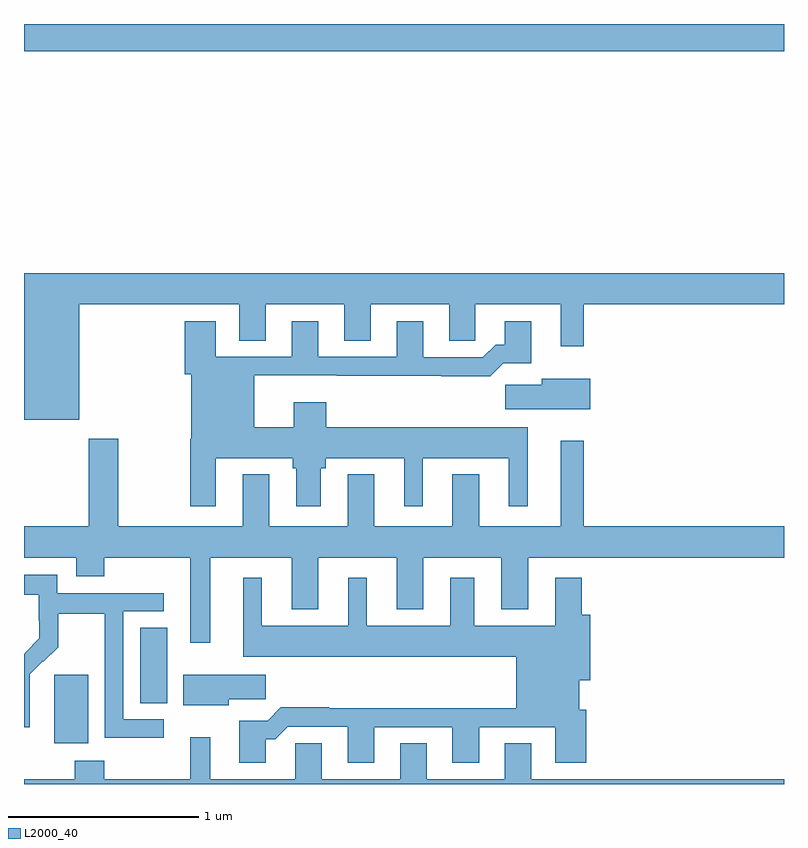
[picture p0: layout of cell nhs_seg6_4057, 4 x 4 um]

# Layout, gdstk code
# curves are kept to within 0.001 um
import gdstk
lib = gdstk.Library(unit=1e-6, precision=1e-09)
def R(c, l, rs):  # rectangles x0, y0, x1, y1
    for r in rs: c.add(gdstk.rectangle(r[:2], r[2:], *l))
def P(c, l, *ps):  # polygons
    for p in ps: c.add(gdstk.Polygon(p, *l))
L2000_40 = (2000, 40)

nhs_seg6_4057 = lib.new_cell('nhs_seg6_4057')
R(nhs_seg6_4057, L2000_40, [(351.158,923.714,351.337,924.075), (351.611,923.926,351.754,924.323), (351,927.356,355,927.5)])
P(nhs_seg6_4057, L2000_40, [(351.292,926.024),(352.133,926.024),(352.133,925.834),(352.273,925.834),(352.273,926.024),(352.685,926.024),(352.685,925.834),(352.825,925.834),(352.825,926.024),(353.237,926.024),(353.237,925.834),(353.376,925.834),(353.376,926.024),(353.825,926.024),(353.825,925.803),(353.947,925.803),(353.947,926.024),(355,926.024),(355,926.188),(351,926.188),(351,925.418),(351.292,925.418)],
  [(352.009,925.214),(352.414,925.214),(352.414,925.161),(352.433,925.161),(352.433,924.963),(352.561,924.963),(352.561,925.161),(352.587,925.161),(352.587,925.214),(353,925.214),(353,924.963),(353.098,924.963),(353.098,925.214),(353.552,925.214),(353.552,924.963),(353.65,924.963),(353.65,925.378),(352.592,925.378),(352.592,925.51),(352.421,925.51),(352.421,925.378),(352.213,925.378),(352.213,925.652),(352.645,925.652),(352.645,925.648),(353.197,925.648),(353.197,925.646),(353.453,925.646),(353.522,925.715),(353.671,925.715),(353.671,925.936),(353.531,925.936),(353.531,925.813),(353.482,925.813),(353.415,925.746),(353.101,925.746),(353.101,925.936),(352.961,925.936),(352.961,925.749),(352.549,925.749),(352.549,925.936),(352.409,925.936),(352.409,925.749),(352.009,925.749),(352.009,925.936),(351.845,925.936),(351.845,925.656),(351.881,925.656),(351.881,925.318),(351.874,925.318),(351.874,924.963),(352.009,924.963)],
  [(353.98,925.633),(353.726,925.633),(353.726,925.601),(353.532,925.601),(353.532,925.472),(353.98,925.472)],
  [(351.979,924.692),(352.409,924.692),(352.409,924.419),(352.549,924.419),(352.549,924.692),(352.961,924.692),(352.961,924.419),(353.101,924.419),(353.101,924.692),(353.513,924.692),(353.513,924.419),(353.653,924.419),(353.653,924.692),(355,924.692),(355,924.856),(353.947,924.856),(353.947,925.306),(353.825,925.306),(353.825,924.856),(353.395,924.856),(353.395,925.129),(353.255,925.129),(353.255,924.856),(352.843,924.856),(352.843,925.129),(352.703,925.129),(352.703,924.856),(352.291,924.856),(352.291,925.129),(352.151,925.129),(352.151,924.856),(351.495,924.856),(351.495,925.318),(351.34,925.318),(351.34,924.856),(351,924.856),(351,924.692),(351.275,924.692),(351.275,924.593),(351.423,924.593),(351.423,924.692),(351.875,924.692),(351.875,924.243),(351.979,924.243)],
  [(351.736,923.841),(351.522,923.841),(351.522,924.408),(351.736,924.408),(351.736,924.504),(351.174,924.504),(351.174,924.601),(351,924.601),(351,924.497),(351.078,924.497),(351.078,924.363),(351.08,924.363),(351.08,924.266),(351.006,924.192),(351.007,924.191),(351,924.184),(351,923.8),(351.03,923.8),(351.029,924.077),(351.099,924.147),(351.102,924.144),(351.179,924.221),(351.179,924.396),(351.424,924.396),(351.424,924.172),(351.426,924.172),(351.426,923.743),(351.736,923.743)],
  [(352.273,923.735),(352.322,923.735),(352.389,923.802),(352.703,923.802),(352.703,923.613),(352.843,923.613),(352.843,923.799),(353.255,923.799),(353.255,923.613),(353.395,923.613),(353.395,923.799),(353.795,923.799),(353.795,923.613),(353.96,923.613),(353.96,923.892),(353.923,923.892),(353.923,924.047),(353.98,924.047),(353.98,924.391),(353.936,924.391),(353.936,924.586),(353.795,924.586),(353.795,924.334),(353.371,924.334),(353.371,924.586),(353.243,924.586),(353.243,924.334),(352.804,924.334),(352.804,924.586),(352.706,924.586),(352.706,924.334),(352.252,924.334),(352.252,924.586),(352.154,924.586),(352.154,924.17),(353.591,924.17),(353.591,923.9),(352.607,923.9),(352.607,923.903),(352.352,923.903),(352.282,923.833),(352.133,923.833),(352.133,923.613),(352.273,923.613)],
  [(352.078,923.947),(352.273,923.947),(352.273,924.076),(351.839,924.076),(351.839,923.915),(352.078,923.915)],
  [(355,923.524),(353.671,923.524),(353.671,923.714),(353.531,923.714),(353.531,923.524),(353.119,923.524),(353.119,923.714),(352.979,923.714),(352.979,923.524),(352.567,923.524),(352.567,923.714),(352.428,923.714),(352.428,923.524),(351.979,923.524),(351.979,923.746),(351.875,923.746),(351.875,923.524),(351.423,923.524),(351.423,923.623),(351.268,923.623),(351.268,923.524),(351,923.524),(351,923.5),(355,923.5)])

lib.write_gds('nhs_seg6_4057.gds')
